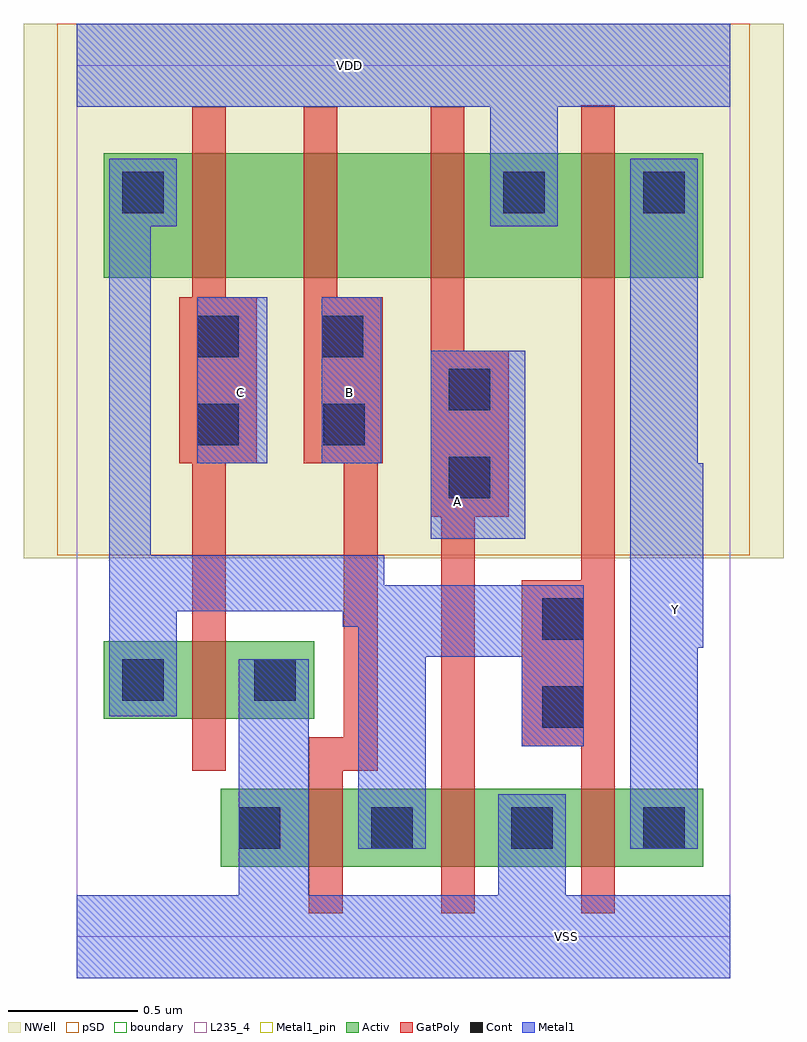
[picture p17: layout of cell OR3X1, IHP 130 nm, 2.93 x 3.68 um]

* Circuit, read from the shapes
.subckt OR3X1 A B C VDD VSS Y
XM1 VSS C n1 VSUBS sg13_lv_nmos w=0.3u l=0.13u
XM2 n1 B VSS VSUBS sg13_lv_nmos w=0.3u l=0.13u
XM3 VSS A n1 VSUBS sg13_lv_nmos w=0.3u l=0.13u
XM4 Y n1 VSS VSUBS sg13_lv_nmos w=0.3u l=0.13u
XM5 n2 C n1 n3 sg13_lv_pmos w=0.48u l=0.13u
XM6 n4 B n2 n3 sg13_lv_pmos w=0.48u l=0.13u
XM7 VDD A n4 n3 sg13_lv_pmos w=0.48u l=0.13u
XM8 Y n1 VDD n3 sg13_lv_pmos w=0.48u l=0.13u
.ends

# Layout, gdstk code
import gdstk
lib = gdstk.Library(unit=1e-6, precision=1e-09)
def R(c, l, rs):  # rectangles x0, y0, x1, y1
    for r in rs: c.add(gdstk.rectangle(r[:2], r[2:], *l))
def P(c, l, *ps):  # polygons
    for p in ps: c.add(gdstk.Polygon(p, *l))
Activ = (1, 0)
GatPoly = (5, 0)
Cont = (6, 0)
Metal1 = (8, 0)
Metal1_pin = (8, 2)
pSD = (14, 0)
NWell = (31, 0)
boundary = (189, 4)
L235_4 = (235, 4)

or3x1 = lib.new_cell('OR3X1')
R(or3x1, Activ, [(0.555,0.27,2.415,0.57), (0.105,0.84,0.915,1.14), (0.105,2.54,2.415,3.02)])
P(or3x1, GatPoly, [(1.405,0.09),(1.405,1.62),(1.365,1.62),(1.365,3.2),(1.495,3.2),(1.495,2.26),(1.665,2.26),(1.665,1.62),(1.535,1.62),(1.535,0.09)],
  [(0.895,0.09),(0.895,0.77),(1.03,0.77),(1.03,1.825),(0.875,1.825),(0.875,3.2),(1.005,3.2),(1.005,2.465),(1.18,2.465),(1.18,1.825),(1.16,1.825),(1.16,0.64),(1.025,0.64),(1.025,0.09)],
  [(0.445,0.64),(0.445,1.825),(0.395,1.825),(0.395,2.465),(0.445,2.465),(0.445,3.2),(0.575,3.2),(0.575,2.465),(0.695,2.465),(0.695,1.825),(0.575,1.825),(0.575,0.64)],
  [(1.945,0.09),(1.945,0.735),(1.715,0.735),(1.715,1.375),(1.945,1.375),(1.945,3.205),(2.075,3.205),(2.075,0.09)])
R(or3x1, Cont, [(0.625,0.34,0.785,0.5), (1.135,0.34,1.295,0.5), (1.675,0.34,1.835,0.5), (2.185,0.34,2.345,0.5), (1.795,0.805,1.955,0.965), (0.175,0.91,0.335,1.07), (0.685,0.91,0.845,1.07), (1.795,1.145,1.955,1.305), (1.435,1.69,1.595,1.85), (0.465,1.895,0.625,2.055), (0.95,1.895,1.11,2.055), (1.435,2.03,1.595,2.19), (0.465,2.235,0.625,2.395), (0.945,2.235,1.105,2.395), (0.175,2.79,0.335,2.95), (1.645,2.79,1.805,2.95), (2.185,2.79,2.345,2.95)])
R(or3x1, Metal1, [(1.365,1.535,1.73,2.26), (0.465,1.825,0.735,2.465), (0.945,1.825,1.175,2.465)])
P(or3x1, Metal1, [(2.135,0.34),(2.135,3),(2.395,3),(2.395,1.825),(2.415,1.825),(2.415,1.115),(2.395,1.115),(2.395,0.34)],
  [(0,-0.16),(0,0.16),(0.625,0.16),(0.625,1.07),(0.895,1.07),(0.895,0.16),(1.625,0.16),(1.625,0.55),(1.885,0.55),(1.885,0.16),(2.52,0.16),(2.52,-0.16)],
  [(1.595,2.74),(1.595,3.2),(0,3.2),(0,3.52),(2.52,3.52),(2.52,3.2),(1.855,3.2),(1.855,2.74)],
  [(1.085,0.34),(1.085,1.195),(1.025,1.195),(1.025,1.255),(0.385,1.255),(0.385,0.85),(0.125,0.85),(0.125,3),(0.385,3),(0.385,2.74),(0.285,2.74),(0.285,1.47),(1.185,1.47),(1.185,1.355),(1.955,1.355),(1.955,0.735),(1.715,0.735),(1.715,1.08),(1.345,1.08),(1.345,0.34)])
R(or3x1, Metal1_pin, [(0,-0.16,2.52,0.16), (2.135,1.115,2.415,1.825), (1.365,1.535,1.73,2.26), (0.465,1.825,0.735,2.465), (0.945,1.825,1.175,2.465), (0,3.2,2.52,3.52)])
P(or3x1, Metal1_pin, [(1.595,2.74),(1.595,3.2),(0,3.2),(0,3.52),(2.52,3.52),(2.52,3.2),(1.855,3.2),(1.855,2.74)],
  [(0,-0.16),(0,0.16),(0.625,0.16),(0.625,1.07),(0.895,1.07),(0.895,0.16),(1.625,0.16),(1.625,0.55),(1.885,0.55),(1.885,0.16),(2.52,0.16),(2.52,-0.16)],
  [(2.135,0.34),(2.135,3),(2.395,3),(2.395,1.825),(2.415,1.825),(2.415,1.115),(2.395,1.115),(2.395,0.34)])
R(or3x1, pSD, [(-0.075,1.47,2.595,3.52)])
R(or3x1, NWell, [(-0.205,1.46,2.725,3.52)])
R(or3x1, boundary, [(0,0,2.52,3.36)])
R(or3x1, L235_4, [(0,0,2.52,3.36)])
or3x1.add(gdstk.Label('VSS', (1.89,0), layer=8, texttype=25))
or3x1.add(gdstk.Label('B', (1.05,2.1), layer=8, texttype=25))
or3x1.add(gdstk.Label('A', (1.47,1.68), layer=8, texttype=25))
or3x1.add(gdstk.Label('Y', (2.31,1.26), layer=8, texttype=25))
or3x1.add(gdstk.Label('VDD', (1.05,3.36), layer=8, texttype=25))
or3x1.add(gdstk.Label('C', (0.63,2.1), layer=8, texttype=25))

lib.write_gds('OR3X1.gds')
